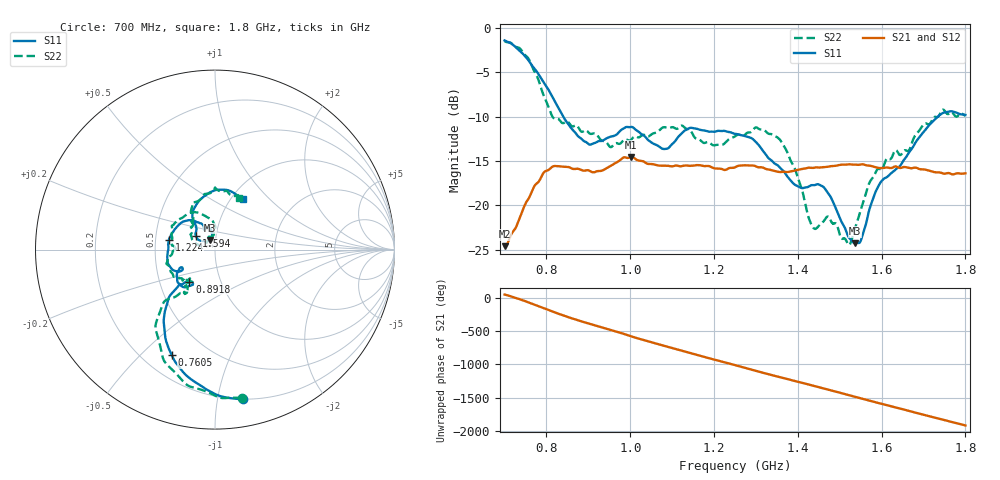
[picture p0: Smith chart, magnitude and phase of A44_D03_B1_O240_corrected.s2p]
! Created with skrf 1.9.0 (http://scikit-rf.org).
# Hz S RI R 50.0
!freq ReS11 ImS11 ReS21 ImS21 ReS12 ImS12 ReS22 ImS22
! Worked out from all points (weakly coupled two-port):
!   1601 points, 700 MHz to 1.8 GHz, reference 50 ohm
!   highest |S21| = -14.56 dB at 1.002 GHz (marker M1); lowest = -24.6 dB at 701.4 MHz (marker M2)
!   lowest |S11| = -24.3 dB at 1.537 GHz (marker M3), VSWR 1.13, Z = 47.1 + j5.13 ohm
!   |S11| at or under -10 dB: 839.8 MHz to 1.734 GHz (894.4 MHz wide, 69.5 % of centre)
!   |S22| runs from -24.5 to -1.5 dB; largest |S21 - S12| = 0.0036
!   S11 on the Smith chart (normalised r, x): 700 MHz: 0.20, -1.19; 760.5 MHz: 0.32, -0.62; 891.8 MHz: 0.71, -0.27; 1.224 GHz: 0.59, +0.07; 1.594 GHz: 0.80, +0.12; 1.8 GHz: 1.12, +0.71
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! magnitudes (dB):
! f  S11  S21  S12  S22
! 700 MHz  -1.4  -24.6  -24.4  -1.5
! 701.4 MHz  -1.4  -24.6  -24.2  -1.5
! 760.5 MHz  -3.9  -18.9  -18.8  -3.8
! 814.8 MHz  -7.9  -15.6  -15.7  -10.1
! 883.6 MHz  -12.5  -16.0  -15.9  -11.7
! 891.8 MHz  -12.8  -16.1  -16.1  -11.6
! 953 MHz  -12.3  -15.6  -15.6  -13.4
! 1.002 GHz  -11.2  -14.6  -14.7  -12.6
! 1.067 GHz  -13.3  -15.5  -15.4  -11.6
! 1.143 GHz  -11.3  -15.6  -15.5  -11.5
! 1.224 GHz  -11.6  -16.0  -16.0  -13.1
! 1.25 GHz  -11.9  -15.7  -15.6  -12.2
! 1.357 GHz  -15.7  -16.3  -16.2  -12.6
! 1.394 GHz  -17.7  -16.1  -16.1  -16.1
! 1.434 GHz  -17.7  -15.8  -15.8  -22.3
! 1.473 GHz  -18.7  -15.6  -15.7  -21.3
! 1.522 GHz  -23.6  -15.4  -15.4  -24.5
! 1.537 GHz  -24.3  -15.4  -15.4  -22.6
! 1.594 GHz  -17.7  -15.8  -15.8  -15.9
! 1.617 GHz  -16.6  -15.8  -15.7  -14.8
! 1.738 GHz  -9.8  -16.3  -16.3  -9.8
! 1.8 GHz  -9.8  -16.4  -16.4  -9.9
